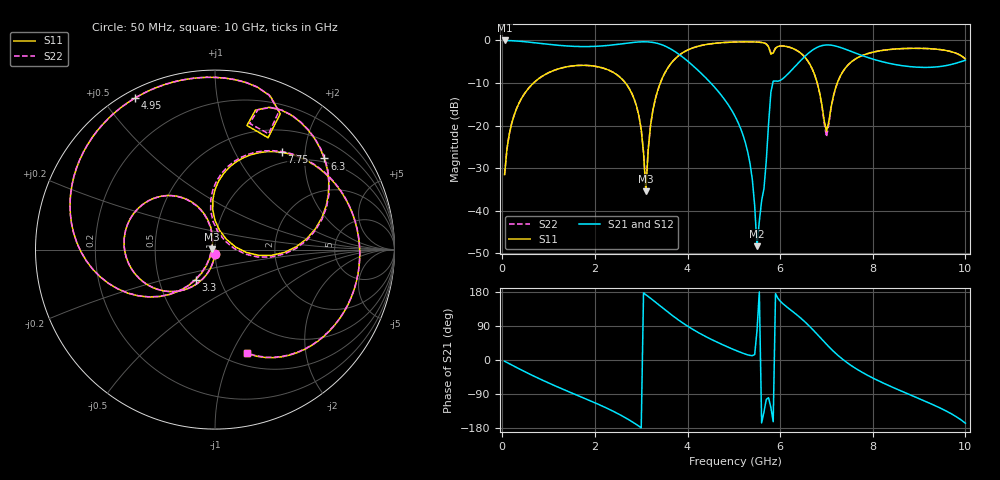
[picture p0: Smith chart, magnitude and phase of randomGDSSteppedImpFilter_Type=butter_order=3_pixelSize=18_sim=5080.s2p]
! freq	dB(S11)	phase(S11)	dB(S12)	phase(S12)
!  dB(S21)	phase(S21)	dB(S22)	phase(S22)
!S-par simulation data
#  GHz  S  DB  R 50
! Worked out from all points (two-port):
!   200 points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, 50 MHz to 10 GHz, reference 50 ohm
!   highest |S21| = -0.01 dB at 50 MHz (marker M1); lowest = -48.4 dB at 5.5 GHz (marker M2)
!   |S21| within 3 dB of the highest: start of sweep to 3.781 GHz; 6.611 GHz to 7.634 GHz (1.023 GHz wide, 14.4 % of centre)
!   lowest |S11| = -35.5 dB at 3.1 GHz (marker M3), VSWR 1.03, Z = 48.4 + j0.207 ohm
!   |S11| at or under -10 dB: start of sweep to 675.9 MHz; 2.659 GHz to 3.413 GHz (753.9 MHz wide, 24.8 % of centre); 6.801 GHz to 7.235 GHz (433.6 MHz wide, 6.18 % of centre)
!   |S22| runs from -34.5 to -0.3 dB; largest |S21 - S12| = 0
!   S11 on the Smith chart (normalised r, x): 50 MHz: 1.00, -0.05; 3.3 GHz: 0.76, -0.27; 4.95 GHz: 0.03, +0.60; 6.3 GHz: 0.90, +2.47; 7.75 GHz: 0.83, +1.57; 10 GHz: 0.63, -1.15
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0.05  -31.53 -93.3  -0.01 -3.3  -0.01 -3.3  -31.53 -93.3
0.5  -12.19 -122.2  -0.32 -31.7  -0.32 -31.7  -12.19 -122.2
1.75  -5.85 169.8  -1.45 -99.8  -1.45 -99.8  -5.85 169.9
2.8  -12.53 109.5  -0.50 -162.7  -0.50 -162.7  -12.52 110.0
3  -20.96 100.1  -0.33 -178.9  -0.33 -178.9  -20.93 101.5
3.1  -35.50 172.7  -0.32 172.3  -0.32 172.3  -34.52 172.7
3.3  -13.96 -122.7  -0.56 153.5  -0.56 153.5  -13.95 -123.2
3.4  -10.35 -130.8  -0.85 143.7  -0.85 143.7  -10.34 -131.1
4.1  -1.81 169.7  -5.77 81.8  -5.77 81.8  -1.81 169.8
4.95  -0.40 117.9  -16.35 30.0  -16.35 30.0  -0.40 118.1
5.05  -0.37 112.5  -18.34 24.9  -18.34 24.9  -0.36 112.6
5.35  -0.34 95.7  -28.96 12.1  -28.96 12.1  -0.34 95.9
5.5  -0.38 86.4  -48.35 77.4  -48.35 77.4  -0.38 86.7
5.8  -3.22 64.6  -12.16 -125.5  -12.16 -125.5  -2.96 65.1
6.3  -2.01 39.8  -6.36 125.2  -6.36 125.2  -2.02 39.4
6.7  -6.86 2.0  -2.26 80.8  -2.26 80.8  -6.90 0.9
7  -21.37 42.0  -1.06 41.6  -1.06 41.6  -22.66 42.2
7.25  -9.54 90.1  -1.47 12.0  -1.47 12.0  -9.60 92.2
7.75  -3.65 55.6  -3.48 -31.0  -3.48 -31.0  -3.66 56.6
8.35  -2.15 20.9  -5.38 -67.7  -5.38 -67.7  -2.15 21.7
9.2  -1.92 -22.6  -6.33 -112.5  -6.33 -112.5  -1.92 -22.0
10  -4.36 -72.9  -4.65 -166.7  -4.65 -166.7  -4.38 -72.7
